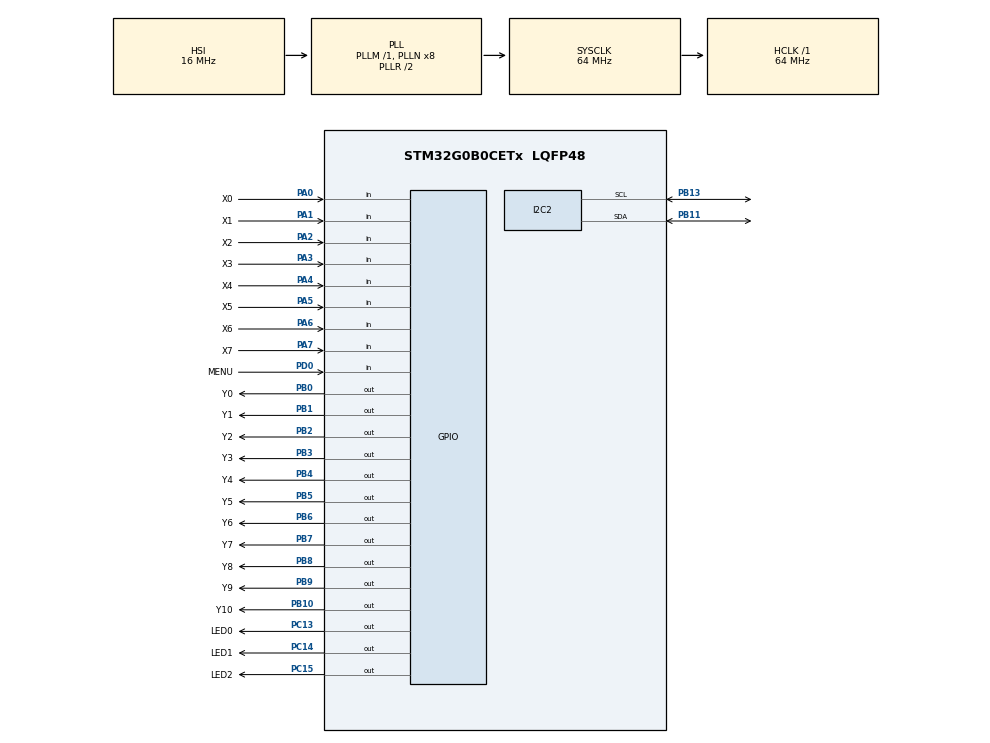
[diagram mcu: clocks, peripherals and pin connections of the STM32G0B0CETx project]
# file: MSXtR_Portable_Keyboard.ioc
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I2C2.OwnAddress=8
I2C2.Timing=0x10B17DB5
Mcu.Family=STM32G0
Mcu.Name=STM32G0B0CETx
Mcu.Package=LQFP48
PA0.GPIO_Label=X0
PA0.GPIO_PuPd=GPIO_PULLUP
PA0.Signal=GPIO_Input
PA1.GPIO_Label=X1
PA1.GPIO_PuPd=GPIO_PULLUP
PA1.Signal=GPIO_Input
PA13.Mode=Serial_Wire
PA13.Signal=SYS_SWDIO
PA14-BOOT0.Mode=Serial_Wire
PA14-BOOT0.Signal=SYS_SWCLK
PA2.GPIO_Label=X2
PA2.GPIO_PuPd=GPIO_PULLUP
PA2.Signal=GPIO_Input
PA3.GPIO_Label=X3
PA3.GPIO_PuPd=GPIO_PULLUP
PA3.Signal=GPIO_Input
PA4.GPIO_Label=X4
PA4.GPIO_PuPd=GPIO_PULLUP
PA4.Signal=GPIO_Input
PA5.GPIO_Label=X5
PA5.GPIO_PuPd=GPIO_PULLUP
PA5.Signal=GPIO_Input
PA6.GPIO_Label=X6
PA6.GPIO_PuPd=GPIO_PULLUP
PA6.Signal=GPIO_Input
PA7.GPIO_Label=X7
PA7.GPIO_PuPd=GPIO_PULLUP
PA7.Signal=GPIO_Input
PB0.GPIO_Label=Y0
PB0.GPIO_ModeDefaultOutputPP=GPIO_MODE_OUTPUT_OD
PB0.GPIO_PuPd=GPIO_NOPULL
PB0.Signal=GPIO_Output
PB1.GPIO_Label=Y1
PB1.GPIO_ModeDefaultOutputPP=GPIO_MODE_OUTPUT_OD
PB1.GPIO_PuPd=GPIO_NOPULL
PB1.Signal=GPIO_Output
PB10.GPIO_Label=Y10
PB10.GPIO_ModeDefaultOutputPP=GPIO_MODE_OUTPUT_OD
PB10.GPIO_PuPd=GPIO_NOPULL
PB10.Signal=GPIO_Output
PB11.Mode=I2C
PB11.Signal=I2C2_SDA
PB13.Mode=I2C
PB13.Signal=I2C2_SCL
PB2.GPIO_Label=Y2
PB2.GPIO_ModeDefaultOutputPP=GPIO_MODE_OUTPUT_OD
PB2.GPIO_PuPd=GPIO_NOPULL
PB2.Signal=GPIO_Output
PB3.GPIO_Label=Y3
PB3.GPIO_ModeDefaultOutputPP=GPIO_MODE_OUTPUT_OD
PB3.GPIO_PuPd=GPIO_NOPULL
PB3.Signal=GPIO_Output
PB4.GPIO_Label=Y4
PB4.GPIO_ModeDefaultOutputPP=GPIO_MODE_OUTPUT_OD
PB4.GPIO_PuPd=GPIO_NOPULL
PB4.Signal=GPIO_Output
PB5.GPIO_Label=Y5
PB5.GPIO_ModeDefaultOutputPP=GPIO_MODE_OUTPUT_OD
PB5.GPIO_PuPd=GPIO_NOPULL
PB5.Signal=GPIO_Output
PB6.GPIO_Label=Y6
PB6.GPIO_ModeDefaultOutputPP=GPIO_MODE_OUTPUT_OD
PB6.GPIO_PuPd=GPIO_NOPULL
PB6.Signal=GPIO_Output
PB7.GPIO_Label=Y7
PB7.GPIO_ModeDefaultOutputPP=GPIO_MODE_OUTPUT_OD
PB7.GPIO_PuPd=GPIO_NOPULL
PB7.Signal=GPIO_Output
PB8.GPIO_Label=Y8
PB8.GPIO_ModeDefaultOutputPP=GPIO_MODE_OUTPUT_OD
PB8.GPIO_PuPd=GPIO_NOPULL
PB8.Signal=GPIO_Output
PB9.GPIO_Label=Y9
PB9.GPIO_ModeDefaultOutputPP=GPIO_MODE_OUTPUT_OD
PB9.GPIO_PuPd=GPIO_NOPULL
PB9.Signal=GPIO_Output
PC13.GPIO_Label=LED0
PC13.PinState=GPIO_PIN_SET
PC13.Signal=GPIO_Output
PC14-OSC32_IN\ (PC14).GPIO_Label=LED1
PC14-OSC32_IN\ (PC14).PinState=GPIO_PIN_SET
PC14-OSC32_IN\ (PC14).Signal=GPIO_Output
PC15-OSC32_OUT\ (PC15).GPIO_Label=LED2
PC15-OSC32_OUT\ (PC15).PinState=GPIO_PIN_SET
PC15-OSC32_OUT\ (PC15).Signal=GPIO_Output
PD0.GPIO_Label=MENU
PD0.GPIO_PuPd=GPIO_PULLUP
PD0.Signal=GPIO_Input
ProjectManager.HeapSize=0x200
ProjectManager.StackSize=0x400
ProjectManager.TargetToolchain=STM32CubeIDE
RCC.ADCFreq_Value=64000000
RCC.AHBFreq_Value=64000000
RCC.CortexFreq_Value=64000000
RCC.EXTERNAL_CLOCK_VALUE=48000
RCC.HCLKFreq_Value=64000000
RCC.HSE_VALUE=8000000
RCC.HSI_VALUE=16000000
RCC.LSE_VALUE=32768
RCC.SYSCLKFreq_VALUE=64000000
RCC.SYSCLKSource=RCC_SYSCLKSOURCE_PLLCLK
RCC.USBFreq_Value=64000000
RCC.VCOOutputFreq_Value=128000000
VP_SYS_VS_DBSignals.Mode=DisableDeadBatterySignals
board=custom

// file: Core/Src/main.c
/* USER CODE BEGIN Header */
/**
	******************************************************************************
	* @file						: main.c
	* @brief					: Main program body
	******************************************************************************
	* @attention
	*
	* Copyright (c) 2026 STMicroelectronics.
	* All rights reserved.
	*
	* This software is licensed under terms that can be found in the LICENSE file
	* in the root directory of this software component.
	* If no LICENSE file comes with this software, it is provided AS-IS.
	*
	******************************************************************************
	*/
/* USER CODE END Header */
#include "main.h"

/* USER CODE BEGIN Includes */
#include "stm32g0xx_ll_gpio.h"

/* USER CODE END Includes */

I2C_HandleTypeDef hi2c2;

/* USER CODE BEGIN PV */
static int msx_key_matrix[12] = {
	0xFF, 0xFF, 0xFF, 0xFF,
	0xFF, 0xFF, 0xFF, 0xFF,
	0xFF, 0xFF, 0xFF, 0xFF,
};

static int gpio_y[11] = {
	Y0_Pin,
	Y1_Pin,
	Y2_Pin,
	Y3_Pin,
	Y4_Pin,
	Y5_Pin,
	Y6_Pin,
	Y7_Pin,
	Y8_Pin,
	Y9_Pin,
	Y10_Pin,
};

static uint8_t rx_buffer[32];
static uint8_t tx_buffer[32];
static int rx_length = 0;
/* USER CODE END PV */

void SystemClock_Config(void);
static void MX_GPIO_Init(void);
static void MX_I2C2_Init(void);

int main(void)
{
	int y;

	/* MCU Configuration--------------------------------------------------------*/

	/* Reset of all peripherals, Initializes the Flash interface and the Systick. */
	HAL_Init();

	/* Configure the system clock */
	SystemClock_Config();

	/* Initialize all configured peripherals */
	MX_GPIO_Init();
	MX_I2C2_Init();
	/* USER CODE BEGIN 2 */
	HAL_I2C_EnableListen_IT( &hi2c2 );
	/* USER CODE END 2 */

	/* Infinite loop */
	while (1)
	{

		/* USER CODE BEGIN 3 */
		for( y = 0; y < 11; y++ ) {
			HAL_GPIO_WritePin( GPIOB, gpio_y[y], GPIO_PIN_RESET );
			msx_key_matrix[y] = LL_GPIO_ReadInputPort( GPIOA ) & 0xFF;
			HAL_GPIO_WritePin( GPIOB, gpio_y[y], GPIO_PIN_SET );
		}
		HAL_Delay( 4 );
	}
	/* USER CODE END 3 */
}

void SystemClock_Config(void)
{
	RCC_OscInitTypeDef RCC_OscInitStruct = {0};
	RCC_ClkInitTypeDef RCC_ClkInitStruct = {0};

	/** Configure the main internal regulator output voltage
	*/
	HAL_PWREx_ControlVoltageScaling(PWR_REGULATOR_VOLTAGE_SCALE1);

	/** Initializes the RCC Oscillators according to the specified parameters
	* in the RCC_OscInitTypeDef structure.
	*/
	RCC_OscInitStruct.OscillatorType = RCC_OSCILLATORTYPE_HSI;
	RCC_OscInitStruct.HSIState = RCC_HSI_ON;
	RCC_OscInitStruct.HSIDiv = RCC_HSI_DIV1;
	RCC_OscInitStruct.HSICalibrationValue = RCC_HSICALIBRATION_DEFAULT;
	RCC_OscInitStruct.PLL.PLLState = RCC_PLL_ON;
	RCC_OscInitStruct.PLL.PLLSource = RCC_PLLSOURCE_HSI;
	RCC_OscInitStruct.PLL.PLLM = RCC_PLLM_DIV1;
	RCC_OscInitStruct.PLL.PLLN = 8;
	RCC_OscInitStruct.PLL.PLLP = RCC_PLLP_DIV2;
	RCC_OscInitStruct.PLL.PLLQ = RCC_PLLQ_DIV2;
	RCC_OscInitStruct.PLL.PLLR = RCC_PLLR_DIV2;
	if (HAL_RCC_OscConfig(&RCC_OscInitStruct) != HAL_OK)
	{
		Error_Handler();
	}

	/** Initializes the CPU, AHB and APB buses clocks
	*/
	RCC_ClkInitStruct.ClockType = RCC_CLOCKTYPE_HCLK|RCC_CLOCKTYPE_SYSCLK
															|RCC_CLOCKTYPE_PCLK1;
	RCC_ClkInitStruct.SYSCLKSource = RCC_SYSCLKSOURCE_PLLCLK;
	RCC_ClkInitStruct.AHBCLKDivider = RCC_SYSCLK_DIV1;
	RCC_ClkInitStruct.APB1CLKDivider = RCC_HCLK_DIV1;

	if (HAL_RCC_ClockConfig(&RCC_ClkInitStruct, FLASH_LATENCY_2) != HAL_OK)
	{
		Error_Handler();
	}
}

static void MX_I2C2_Init(void)
{

	hi2c2.Instance = I2C2;
	hi2c2.Init.Timing = 0x10B17DB5;
	hi2c2.Init.OwnAddress1 = 8 << 1;
	hi2c2.Init.AddressingMode = I2C_ADDRESSINGMODE_7BIT;
	hi2c2.Init.DualAddressMode = I2C_DUALADDRESS_DISABLE;
	hi2c2.Init.OwnAddress2 = 0;
	hi2c2.Init.OwnAddress2Masks = I2C_OA2_NOMASK;
	hi2c2.Init.GeneralCallMode = I2C_GENERALCALL_DISABLE;
	hi2c2.Init.NoStretchMode = I2C_NOSTRETCH_DISABLE;
	if (HAL_I2C_Init(&hi2c2) != HAL_OK)
	{
		Error_Handler();
	}

	/** Configure Analogue filter
	*/
	if (HAL_I2CEx_ConfigAnalogFilter(&hi2c2, I2C_ANALOGFILTER_ENABLE) != HAL_OK)
	{
		Error_Handler();
	}

	/** Configure Digital filter
	*/
	if (HAL_I2CEx_ConfigDigitalFilter(&hi2c2, 0) != HAL_OK)
	{
		Error_Handler();
	}

}

static void MX_GPIO_Init(void)
{
	GPIO_InitTypeDef GPIO_InitStruct = {0};

	/* GPIO Ports Clock Enable */
	__HAL_RCC_GPIOC_CLK_ENABLE();
	__HAL_RCC_GPIOA_CLK_ENABLE();
	__HAL_RCC_GPIOB_CLK_ENABLE();
	__HAL_RCC_GPIOD_CLK_ENABLE();

	/*Configure GPIO pin Output Level */
	HAL_GPIO_WritePin(GPIOC, LED0_Pin|LED1_Pin|LED2_Pin, GPIO_PIN_SET);

	/*Configure GPIO pin Output Level */
	HAL_GPIO_WritePin(GPIOB, Y0_Pin|Y1_Pin|Y2_Pin|Y10_Pin
													|Y3_Pin|Y4_Pin|Y5_Pin|Y6_Pin
													|Y7_Pin|Y8_Pin|Y9_Pin, GPIO_PIN_RESET);

	/*Configure GPIO pins : LED0_Pin LED1_Pin LED2_Pin */
	GPIO_InitStruct.Pin = LED0_Pin|LED1_Pin|LED2_Pin;
	GPIO_InitStruct.Mode = GPIO_MODE_OUTPUT_PP;
	GPIO_InitStruct.Pull = GPIO_NOPULL;
	GPIO_InitStruct.Speed = GPIO_SPEED_FREQ_LOW;
	HAL_GPIO_Init(GPIOC, &GPIO_InitStruct);

	/*Configure GPIO pins : X0_Pin X1_Pin X2_Pin X3_Pin
													 X4_Pin X5_Pin X6_Pin X7_Pin */
	GPIO_InitStruct.Pin = X0_Pin|X1_Pin|X2_Pin|X3_Pin
													|X4_Pin|X5_Pin|X6_Pin|X7_Pin;
	GPIO_InitStruct.Mode = GPIO_MODE_INPUT;
	GPIO_InitStruct.Pull = GPIO_PULLUP;
	HAL_GPIO_Init(GPIOA, &GPIO_InitStruct);

	/*Configure GPIO pins : Y0_Pin Y1_Pin Y2_Pin Y10_Pin
													 Y3_Pin Y4_Pin Y5_Pin Y6_Pin
													 Y7_Pin Y8_Pin Y9_Pin */
	GPIO_InitStruct.Pin = Y0_Pin|Y1_Pin|Y2_Pin|Y10_Pin
													|Y3_Pin|Y4_Pin|Y5_Pin|Y6_Pin
													|Y7_Pin|Y8_Pin|Y9_Pin;
	GPIO_InitStruct.Mode = GPIO_MODE_OUTPUT_OD;
	GPIO_InitStruct.Pull = GPIO_NOPULL;
	GPIO_InitStruct.Speed = GPIO_SPEED_FREQ_LOW;
	HAL_GPIO_Init(GPIOB, &GPIO_InitStruct);

	/*Configure GPIO pin : MENU_Pin */
	GPIO_InitStruct.Pin = MENU_Pin;
	GPIO_InitStruct.Mode = GPIO_MODE_INPUT;
	GPIO_InitStruct.Pull = GPIO_PULLUP;
	HAL_GPIO_Init(MENU_GPIO_Port, &GPIO_InitStruct);

}

/* USER CODE BEGIN 4 */
// アドレス一致時に呼ばれる
void HAL_I2C_AddrCallback( I2C_HandleTypeDef *hi2c, uint8_t TransferDirection, uint16_t AddrMatchCode ) {
	// TransferDirectionの意味（重要！）
	// I2C_DIRECTION_TRANSMIT  → マスタがデータを送ってくる（スレーブは受信モード）
	// I2C_DIRECTION_RECEIVE   → マスタがデータを要求（スレーブは送信モード）

	if( TransferDirection == I2C_DIRECTION_TRANSMIT ) {
		// マスタ → スレーブ（Write） → 受信開始
		HAL_I2C_Slave_Seq_Receive_IT( hi2c, rx_buffer, 1, I2C_FIRST_AND_LAST_FRAME );
	}
	else
	{
		// マスタ ← スレーブ（Read） → 送信開始
		HAL_I2C_Slave_Seq_Transmit_IT( hi2c, tx_buffer, 12, I2C_FIRST_AND_LAST_FRAME );
	}
}

// 受信完了時に呼ばれる
void HAL_I2C_SlaveRxCpltCallback(I2C_HandleTypeDef *hi2c) {
	uint8_t data = rx_buffer[0];
	HAL_GPIO_WritePin( LED0_GPIO_Port, LED0_Pin, (data & 0x01) ? GPIO_PIN_RESET : GPIO_PIN_SET );
	HAL_GPIO_WritePin( LED1_GPIO_Port, LED1_Pin, (data & 0x02) ? GPIO_PIN_RESET : GPIO_PIN_SET );
	HAL_GPIO_WritePin( LED2_GPIO_Port, LED2_Pin, (data & 0x04) ? GPIO_PIN_RESET : GPIO_PIN_SET );

	// msx_key_matrix の内容を tx_buffer に格納（次のマスター読み出しで返す）
	for( int i = 0; i < 12; i++ ) {
		tx_buffer[i] = (uint8_t)msx_key_matrix[i];
	}
}

// 送信完了時に呼ばれる
void HAL_I2C_SlaveTxCpltCallback( I2C_HandleTypeDef *hi2c ) {
	// 送信完了処理（例: バッファクリア）
}

// 1回のトランザクション（Stop条件 or Repeated Start後）が終わったら呼ばれる
void HAL_I2C_ListenCpltCallback( I2C_HandleTypeDef *hi2c ) {
	HAL_I2C_EnableListen_IT( hi2c );  // 必ず再びリスン開始。これがないと止まる
}
/* USER CODE END 4 */

void Error_Handler(void)
{
	__disable_irq();
	while (1)
	{
	}
}

void SysTick_Handler(void)
{
	HAL_IncTick();
	HAL_SYSTICK_IRQHandler();
}
